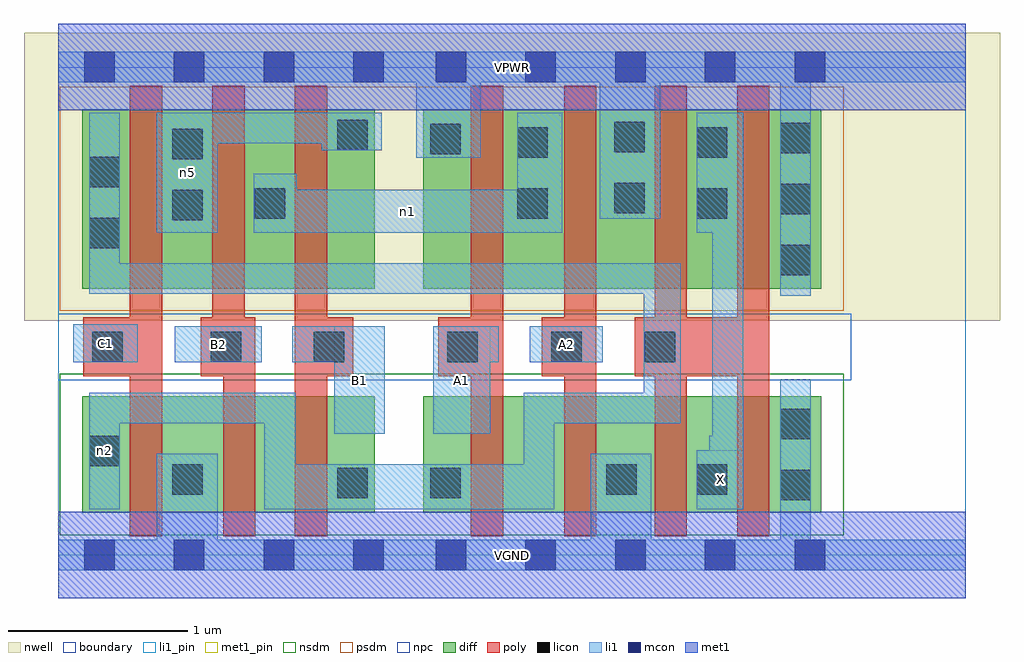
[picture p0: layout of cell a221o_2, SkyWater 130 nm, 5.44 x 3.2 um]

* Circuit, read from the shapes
.subckt a221o_2 A1 A2 B1 B2 C1 VGND VPWR X n1 n2 n5
XM1 VGND C1 n2 VSUBS sky130_fd_pr__nfet_01v8 w=0.65 l=0.18
XM2 n3 B2 VGND VSUBS sky130_fd_pr__nfet_01v8 w=0.65 l=0.18
XM3 n2 B1 n3 VSUBS sky130_fd_pr__nfet_01v8 w=0.65 l=0.18
XM4 n4 A1 n2 VSUBS sky130_fd_pr__nfet_01v8 w=0.65 l=0.18
XM5 VGND A2 n4 VSUBS sky130_fd_pr__nfet_01v8 w=0.65 l=0.18
XM6 X n2 VGND VSUBS sky130_fd_pr__nfet_01v8 w=0.65 l=0.18 m=2
XM7 n5 C1 n2 n6 sky130_fd_pr__pfet_01v8 w=1 l=0.18
XM8 n1 B2 n5 n6 sky130_fd_pr__pfet_01v8 w=1 l=0.18
XM9 n5 B1 n1 n6 sky130_fd_pr__pfet_01v8 w=1 l=0.18
XM10 n1 A1 VPWR n6 sky130_fd_pr__pfet_01v8 w=1 l=0.18
XM11 VPWR A2 n1 n6 sky130_fd_pr__pfet_01v8 w=1 l=0.18
XM12 X n2 VPWR n6 sky130_fd_pr__pfet_01v8 w=1 l=0.18 m=2
.ends

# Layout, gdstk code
import gdstk
lib = gdstk.Library(unit=1e-6, precision=1e-09)
def R(c, l, rs):  # rectangles x0, y0, x1, y1
    for r in rs: c.add(gdstk.rectangle(r[:2], r[2:], *l))
def A(c, l, x, y, w, h, nx, ny, dx, dy):  # array of equal rectangles
    R(c, l, [(x+i*dx, y+j*dy, x+i*dx+w, y+j*dy+h) for i in range(nx) for j in range(ny)])
nwell = (64, 20)
diff = (65, 20)
poly = (66, 20)
licon = (66, 44)
li1_pin = (67, 16)
li1 = (67, 20)
mcon = (67, 44)
met1_pin = (68, 16)
met1 = (68, 20)
nsdm = (93, 44)
psdm = (94, 20)
npc = (95, 20)
boundary = (235, 4)

a221o_2 = lib.new_cell('a221o_2')
R(a221o_2, nwell, [(-0.19,1.305,5.25,2.91), (0,1.305,5.06,2.91)])
R(a221o_2, diff, [(0.135,0.235,1.765,0.885), (2.035,0.235,4.255,0.885), (0.135,1.485,1.765,2.485), (2.035,1.485,4.255,2.485)])
R(a221o_2, poly, [(0.4,0.105,0.58,2.615), (0.92,0.105,1.1,1.325), (1.32,0.105,1.5,2.615), (2.3,0.105,2.48,2.615), (2.82,0.105,3,2.615), (3.325,0.105,3.505,2.615), (3.785,0.105,3.965,2.615), (0.14,0.995,0.58,1.325), (0.795,0.995,1.1,1.325), (0.86,0.995,1.04,2.615), (1.32,0.995,1.645,1.325), (2.12,0.995,2.48,1.325), (2.695,0.995,3,1.325), (3.215,0.995,3.965,1.325)])
A(a221o_2, licon, 4.025, 1.56, 0.17, 0.17, 1, 3, 0, 0.34)
R(a221o_2, licon, [(4.025,0.305,4.195,0.475), (1.555,0.315,1.725,0.485), (2.075,0.315,2.245,0.485), (0.635,0.335,0.805,0.505), (3.055,0.335,3.225,0.505), (3.56,0.335,3.73,0.505), (0.175,0.495,0.345,0.665), (4.025,0.645,4.195,0.815), (0.19,1.075,0.36,1.245), (0.85,1.075,1.02,1.245), (1.425,1.075,1.595,1.245), (2.17,1.075,2.34,1.245), (2.75,1.075,2.92,1.245), (3.27,1.075,3.44,1.245), (0.175,1.71,0.345,1.88), (0.635,1.865,0.805,2.035), (1.095,1.875,1.265,2.045), (2.56,1.875,2.73,2.045), (3.56,1.875,3.73,2.045), (3.1,1.905,3.27,2.075), (0.175,2.05,0.345,2.22), (0.635,2.205,0.805,2.375), (2.56,2.215,2.73,2.385), (3.56,2.215,3.73,2.385), (2.075,2.235,2.245,2.405), (3.1,2.245,3.27,2.415), (1.555,2.255,1.725,2.425)])
R(a221o_2, li1_pin, [(3.56,0.255,3.82,0.585), (1.54,0.675,1.82,1.275), (2.09,0.675,2.41,1.275), (0.085,1.075,0.445,1.285), (0.65,1.075,1.135,1.275), (2.63,1.075,3.035,1.275)])
R(a221o_2, li1, [(0,-0.085,5.06,0.085), (0.55,-0.085,0.89,0.565), (2.97,-0.085,3.305,0.565), (4.025,-0.085,4.195,0.98), (0.175,0.255,0.345,0.905), (1.15,0.255,2.765,0.505), (1.15,0.255,1.325,0.905), (2.595,0.255,2.765,0.905), (3.56,0.255,3.82,0.585), (3.63,0.255,3.82,0.665), (3.645,0.255,3.82,2.465), (1.54,0.675,1.82,1.275), (2.09,0.675,2.41,1.275), (0.175,0.735,1.325,0.905), (2.595,0.735,3.47,0.905), (3.265,0.735,3.47,1.625), (0.085,1.075,0.445,1.285), (0.65,1.075,1.135,1.275), (1.305,1.075,1.82,1.275), (2.09,1.075,2.455,1.275), (2.63,1.075,3.035,1.275), (4.025,1.445,4.195,2.805), (0.175,1.455,3.47,1.625), (0.175,1.455,0.345,2.465), (0.55,1.795,0.89,2.465), (1.09,1.795,2.81,2.035), (1.09,1.795,1.33,2.125), (2.56,1.795,2.81,2.465), (3.56,1.795,3.82,2.465), (3.02,1.875,3.355,2.805), (1.995,2.215,2.355,2.805), (1.47,2.255,1.805,2.465), (0.55,2.295,1.805,2.465), (0,2.635,5.06,2.805)])
A(a221o_2, mcon, 0.145, -0.085, 0.17, 0.17, 4, 2, 0.5, 2.72)
A(a221o_2, mcon, 2.105, -0.085, 0.17, 0.17, 5, 2, 0.5, 2.72)
R(a221o_2, met1_pin, [(0,-0.24,5.06,0.24), (0,2.48,5.06,2.96)])
R(a221o_2, met1, [(0,-0.24,5.06,0.24), (0,2.48,5.06,2.96)])
R(a221o_2, nsdm, [(0.01,0.11,4.38,1.01)])
R(a221o_2, psdm, [(0.01,1.36,4.38,2.61)])
R(a221o_2, npc, [(0,0.975,4.42,1.345)])
R(a221o_2, boundary, [(0,0,5.06,2.72)])
a221o_2.add(gdstk.Label('A1', (2.25,0.975), layer=67, texttype=5))
a221o_2.add(gdstk.Label('A2', (2.832,1.175), layer=67, texttype=5))
a221o_2.add(gdstk.Label('B1', (1.68,0.975), layer=67, texttype=5))
a221o_2.add(gdstk.Label('B2', (0.892,1.175), layer=67, texttype=5))
a221o_2.add(gdstk.Label('C1', (0.265,1.18), layer=67, texttype=5))
a221o_2.add(gdstk.Label('X', (3.69,0.42), layer=67, texttype=5))
a221o_2.add(gdstk.Label('n2', (0.26,0.58), layer=67, texttype=5))
a221o_2.add(gdstk.Label('n5', (0.72,2.13), layer=67, texttype=5))
a221o_2.add(gdstk.Label('n1', (1.95,1.915), layer=67, texttype=5))
a221o_2.add(gdstk.Label('VPWR', (2.53,2.72), layer=68, texttype=5))
a221o_2.add(gdstk.Label('VGND', (2.53,0), layer=68, texttype=5))
a221o_2.add(gdstk.Label('A1', (2.25,0.975), layer=67, texttype=16))
a221o_2.add(gdstk.Label('A2', (2.832,1.175), layer=67, texttype=16))
a221o_2.add(gdstk.Label('B1', (1.68,0.975), layer=67, texttype=16))
a221o_2.add(gdstk.Label('B2', (0.892,1.175), layer=67, texttype=16))
a221o_2.add(gdstk.Label('C1', (0.265,1.18), layer=67, texttype=16))
a221o_2.add(gdstk.Label('X', (3.69,0.42), layer=67, texttype=16))
a221o_2.add(gdstk.Label('VPWR', (2.53,2.72), layer=68, texttype=16))
a221o_2.add(gdstk.Label('VGND', (2.53,0), layer=68, texttype=16))

lib.write_gds('a221o_2.gds')
